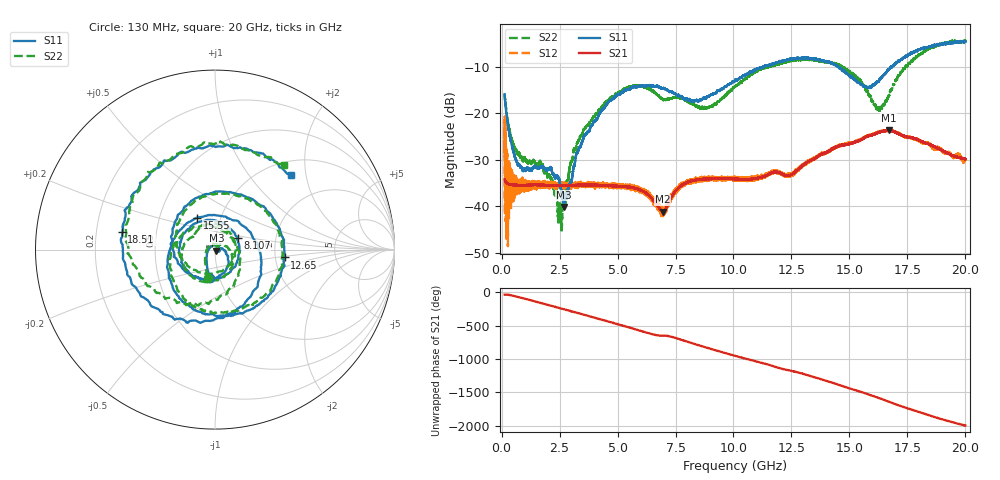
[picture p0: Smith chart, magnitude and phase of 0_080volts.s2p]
!Created with skrf (http://scikit-rf.org).
# GHz S RI R 50.0
!freq ReS11 ImS11 ReS21 ImS21 ReS12 ImS12 ReS22 ImS22
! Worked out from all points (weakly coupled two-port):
!   20013 points, 130 MHz to 20 GHz, reference 50 ohm
!   highest |S21| = -23.58 dB at 16.69 GHz (marker M1); lowest = -41.2 dB at 6.954 GHz (marker M2)
!   lowest |S11| = -40.1 dB at 2.691 GHz (marker M3), VSWR 1.02, Z = 50.8 - j0.568 ohm
!   |S11| at or under -10 dB: start of sweep to 11.27 GHz; 14.52 GHz to 16.78 GHz (2.255 GHz wide, 14.4 % of centre); 16.80049 GHz to 16.83589 GHz (35.4 MHz wide, 0.21 % of centre) (the widest 3 of 13)
!   |S22| runs from -45.7 to -4.3 dB; largest |S21 - S12| = 0.087
!   S11 on the Smith chart (normalised r, x): 130 MHz: 0.90, -0.29; 8.107 GHz: 1.27, +0.17; 12.65 GHz: 2.26, -0.23; 15.55 GHz: 0.77, +0.29; 18.51 GHz: 0.31, +0.08; 20 GHz: 1.32, +1.66
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0.13  -0.0282 -0.1581  0.0157 -0.0116  0.0376 0.0147  -0.0411 -0.1555
0.693  -0.0245 0.0144  0.00568 -0.0159  0.00159 -0.0182  -0.0314 0.0194
2.085  0.0235 -0.0103  -0.0158 0.00532  -0.0157 0.00483  0.0209 -0.000174
2.518  0.015 -0.00952  -0.00862 0.0146  -0.00859 0.0141  0.0107 0.000864
2.691  0.00813 -0.00559  -0.00419 0.0162  -0.00416 0.0161  0.00527 0.0108
3.442  0.0467 0.000597  0.0142 0.00937  0.014 0.00927  0.0531 0.0227
5.312  -0.0545 -0.1709  -0.014 -0.0083  -0.0131 -0.00876  -0.035 -0.1806
6.754  -0.1733 0.09  0.00295 0.00953  0.00272 0.00865  -0.1422 0.0619
6.954  -0.1315 0.1325  0.00319 0.00816  0.00276 0.00794  -0.1213 0.0718
8.107  0.1254 0.066  0.0157 -0.00982  0.015 -0.00916  0.0624 0.1156
10.065  -0.2216 -0.0447  -0.012 0.0157  -0.0123 0.0164  -0.1881 -0.043
11.406  0.0337 0.324  0.0213 0.00156  0.0214 0.00126  0.00679 0.3107
12.651  0.3889 -0.0436  -0.00818 -0.022  -0.00779 -0.0211  0.3731 0.0533
13.377  0.2159 -0.3252  -0.0315 0.000969  -0.0315 0.00049  0.2922 -0.2361
14.578  -0.2428 -0.1862  0.0303 0.0329  0.0301 0.0333  -0.1528 -0.2896
15.548  -0.0989 0.1778  0.0275 -0.0453  0.027 -0.0463  -0.1962 0.0653
16.235  0.2048 0.0799  -0.0478 -0.0394  -0.0478 -0.0398  0.0627 0.0955
16.689  0.25 -0.1588  -0.0627 0.0212  -0.062 0.0212  0.1396 -0.0636
17.612  -0.1935 -0.3876  0.0357 0.0419  0.0357 0.0416  -0.1858 -0.293
18.507  -0.519 0.0977  0.0282 -0.0362  0.0289 -0.0339  -0.4939 0.103
19.279  -0.1405 0.5495  -0.0243 -0.0278  -0.0248 -0.0284  -0.1681 0.5484
20  0.4313 0.4075  -0.0311 0.00886  -0.0311 0.00884  0.388 0.4696
